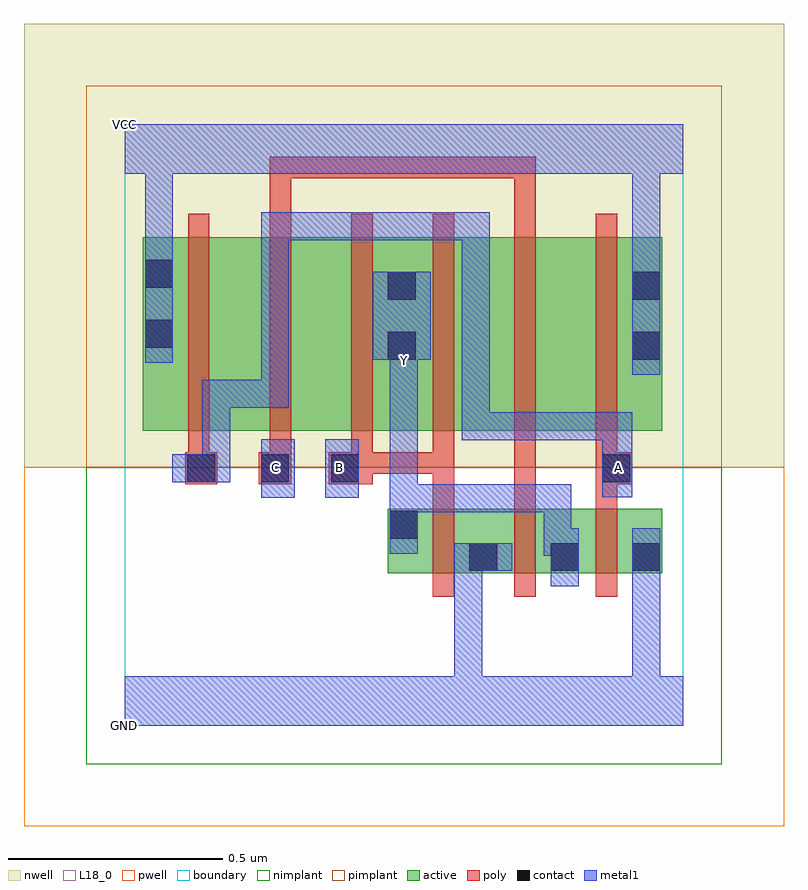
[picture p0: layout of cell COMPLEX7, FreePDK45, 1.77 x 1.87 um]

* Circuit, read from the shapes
.subckt COMPLEX7 A B C GND VCC Y
M1 GND B Y VSUBS nfet w=0.15u l=0.05u
M2 Y C GND VSUBS nfet w=0.15u l=0.05u
M3 GND A Y VSUBS nfet w=0.15u l=0.05u
M4 n1 A VCC n2 pfet w=0.45u l=0.05u
M5 n3 C n1 n2 pfet w=0.45u l=0.05u
M6 Y B n3 n2 pfet w=0.45u l=0.05u
M7 n4 B Y n2 pfet w=0.45u l=0.05u
M8 n5 C n4 n2 pfet w=0.45u l=0.05u
M9 VCC A n5 n2 pfet w=0.45u l=0.05u
.ends

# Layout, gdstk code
import gdstk
lib = gdstk.Library(unit=1e-6, precision=1e-09)
def R(c, l, rs):  # rectangles x0, y0, x1, y1
    for r in rs: c.add(gdstk.rectangle(r[:2], r[2:], *l))
def A(c, l, x, y, w, h, nx, ny, dx, dy):  # array of equal rectangles
    R(c, l, [(x+i*dx, y+j*dy, x+i*dx+w, y+j*dy+h) for i in range(nx) for j in range(ny)])
active = (1, 0)
pwell = (2, 0)
nwell = (3, 0)
nimplant = (4, 0)
pimplant = (5, 0)
poly = (9, 0)
contact = (10, 0)
metal1 = (11, 0)
L18_0 = (18, 0)
boundary = (235, 0)

complex7 = lib.new_cell('COMPLEX7')
R(complex7, active, [(0.612,0.355,0.872,0.505), (0.797,0.355,1.062,0.505), (0.797,0.355,0.872,0.43), (0.987,0.355,1.062,0.505), (0.987,0.355,1.252,0.505), (1.177,0.355,1.252,0.505), (0.612,0.397,0.687,0.505), (0.042,0.687,0.117,1.137), (0.042,0.687,0.267,1.137), (0.267,0.687,0.457,1.137), (0.457,0.687,0.682,1.137), (0.607,0.687,0.837,1.137), (0.607,0.687,0.682,1.07), (0.837,0.687,1.027,1.137), (1.027,0.687,1.252,1.137), (1.177,0.687,1.252,1.137)])
R(complex7, pwell, [(-0.235,-0.235,1.535,0.602)])
R(complex7, nwell, [(-0.235,0.602,1.535,1.635)])
R(complex7, nimplant, [(-0.09,-0.09,1.39,0.602)])
R(complex7, pimplant, [(-0.09,0.602,1.39,1.49)])
A(complex7, poly, 0.717, 0.3, 0.05, 0.26, 3, 1, 0.19, 0)
A(complex7, poly, 0.147, 0.587, 0.05, 0.095, 4, 1, 0.19, 0)
A(complex7, poly, 0.147, 0.632, 0.05, 0.56, 6, 1, 0.19, 0)
R(complex7, poly, [(0.717,0.51,0.767,0.637), (0.907,0.51,0.957,0.605), (1.097,0.51,1.147,0.612), (0.907,0.555,0.957,0.605), (0.907,0.555,0.957,0.682), (0.14,0.562,0.215,0.637), (0.312,0.562,0.387,0.637), (0.475,0.562,0.577,0.637), (1.097,0.562,1.182,0.637), (0.527,0.587,0.767,0.637), (0.717,0.587,0.767,0.637), (0.717,0.587,0.767,0.637), (0.717,0.587,0.767,0.637), (1.097,0.587,1.147,0.682), (0.337,1.142,0.387,1.325), (0.907,1.142,0.957,1.325), (0.337,1.275,0.387,1.325), (0.337,1.275,0.387,1.325), (0.337,1.275,0.387,1.325), (0.337,1.275,0.52,1.325), (0.47,1.275,0.52,1.325), (0.47,1.275,0.825,1.325), (0.775,1.275,0.825,1.325), (0.775,1.275,0.825,1.325), (0.775,1.275,0.825,1.325), (0.775,1.275,0.957,1.325), (0.907,1.275,0.957,1.325), (0.907,1.275,0.957,1.325), (0.907,1.275,0.957,1.325)])
A(complex7, contact, 0.802, 0.36, 0.065, 0.065, 3, 1, 0.19, 0)
R(complex7, contact, [(0.617,0.435,0.682,0.5), (0.145,0.567,0.21,0.632), (0.317,0.567,0.382,0.632), (0.48,0.567,0.545,0.632), (1.112,0.567,1.177,0.632), (0.612,0.852,0.677,0.917), (1.182,0.852,1.247,0.917), (0.047,0.88,0.112,0.945), (0.612,0.992,0.677,1.057), (1.182,0.992,1.247,1.057), (0.047,1.02,0.112,1.085)])
R(complex7, metal1, [(0,0,1.3,0.115), (0.767,0.05,0.832,0.115), (0.767,0.05,0.832,0.115), (0.767,0.05,0.832,0.425), (1.182,0.05,1.247,0.39), (0.992,0.325,1.057,0.46), (1.182,0.325,1.247,0.39), (1.182,0.325,1.247,0.39), (1.182,0.325,1.247,0.39), (1.182,0.325,1.247,0.39), (1.182,0.325,1.247,0.46), (0.767,0.36,0.832,0.425), (0.767,0.36,0.832,0.425), (0.767,0.36,0.902,0.425), (0.975,0.395,1.057,0.46), (0.975,0.395,1.04,0.562), (0.617,0.4,0.682,0.535), (0.617,0.47,0.682,0.535), (0.617,0.47,0.682,0.562), (0.617,0.47,0.682,0.847), (0.617,0.497,0.85,0.562), (0.785,0.497,0.85,0.562), (0.785,0.497,1.04,0.562), (0.317,0.53,0.395,0.667), (0.467,0.53,0.545,0.667), (1.112,0.532,1.182,0.73), (0.11,0.567,0.245,0.632), (0.18,0.567,0.245,0.632), (0.18,0.567,0.245,0.632), (0.18,0.567,0.245,0.805), (0.785,0.665,0.85,0.73), (0.785,0.665,0.85,0.73), (0.785,0.665,0.85,0.73), (0.785,0.665,1.11,0.73), (0.785,0.665,0.85,1.195), (1.045,0.665,1.11,0.73), (1.045,0.665,1.177,0.73), (0.18,0.74,0.245,0.805), (0.18,0.74,0.382,0.805), (0.317,0.74,0.382,0.805), (0.317,0.74,0.382,0.805), (0.317,0.74,0.382,0.805), (0.317,0.74,0.382,1.195), (0.617,0.782,0.682,0.917), (1.182,0.817,1.247,1.092), (0.047,0.845,0.112,1.12), (0.577,0.852,0.712,1.057), (0.617,0.852,0.682,0.917), (1.182,1.027,1.247,1.092), (1.182,1.027,1.247,1.092), (1.182,1.027,1.247,1.35), (0.047,1.055,0.112,1.12), (0.047,1.055,0.112,1.12), (0.047,1.055,0.112,1.35), (0.317,1.13,0.382,1.195), (0.317,1.13,0.52,1.195), (0.455,1.13,0.52,1.195), (0.455,1.13,0.695,1.195), (0.63,1.13,0.695,1.195), (0.63,1.13,0.695,1.195), (0.63,1.13,0.695,1.195), (0.63,1.13,0.85,1.195), (0.785,1.13,0.85,1.195), (0.785,1.13,0.85,1.195), (0.785,1.13,0.85,1.195), (0,1.285,1.3,1.4)])
R(complex7, L18_0, [(0,0,1.3,0.115), (0.767,0.05,0.832,0.115), (0.767,0.05,0.832,0.115), (0.767,0.05,0.832,0.425), (1.182,0.05,1.247,0.39), (0.992,0.325,1.057,0.46), (1.182,0.325,1.247,0.39), (1.182,0.325,1.247,0.39), (1.182,0.325,1.247,0.39), (1.182,0.325,1.247,0.39), (1.182,0.325,1.247,0.46), (0.767,0.36,0.832,0.425), (0.767,0.36,0.832,0.425), (0.767,0.36,0.902,0.425), (0.975,0.395,1.04,0.562), (0.975,0.395,1.057,0.46), (0.617,0.4,0.682,0.535), (0.617,0.47,0.682,0.535), (0.617,0.47,0.682,0.847), (0.617,0.47,0.682,0.562), (0.617,0.497,0.85,0.562), (0.785,0.497,0.85,0.562), (0.785,0.497,1.04,0.562), (0.317,0.53,0.395,0.667), (0.467,0.53,0.545,0.667), (1.112,0.532,1.182,0.73), (0.11,0.567,0.245,0.632), (0.18,0.567,0.245,0.632), (0.18,0.567,0.245,0.632), (0.18,0.567,0.245,0.805), (0.317,0.567,0.382,0.632), (0.467,0.567,0.532,0.632), (1.117,0.567,1.182,0.632), (0.785,0.665,0.85,0.73), (0.785,0.665,0.85,0.73), (0.785,0.665,0.85,0.73), (0.785,0.665,0.85,1.195), (0.785,0.665,1.11,0.73), (1.045,0.665,1.11,0.73), (1.045,0.665,1.177,0.73), (0.18,0.74,0.245,0.805), (0.18,0.74,0.382,0.805), (0.317,0.74,0.382,0.805), (0.317,0.74,0.382,0.805), (0.317,0.74,0.382,0.805), (0.317,0.74,0.382,1.195), (0.617,0.782,0.682,0.917), (0.617,0.817,0.682,0.882), (1.182,0.817,1.247,1.092), (0.047,0.845,0.112,1.12), (0.577,0.852,0.712,1.057), (0.617,0.852,0.682,0.917), (1.182,1.027,1.247,1.092), (1.182,1.027,1.247,1.092), (1.182,1.027,1.247,1.35), (0.047,1.055,0.112,1.12), (0.047,1.055,0.112,1.12), (0.047,1.055,0.112,1.35), (0.317,1.13,0.382,1.195), (0.317,1.13,0.52,1.195), (0.455,1.13,0.52,1.195), (0.455,1.13,0.695,1.195), (0.63,1.13,0.695,1.195), (0.63,1.13,0.695,1.195), (0.63,1.13,0.695,1.195), (0.63,1.13,0.85,1.195), (0.785,1.13,0.85,1.195), (0.785,1.13,0.85,1.195), (0.785,1.13,0.85,1.195), (0,1.285,1.3,1.4)])
R(complex7, boundary, [(0,0,1.3,1.4)])
complex7.add(gdstk.Label('A', (1.15,0.6), layer=11, texttype=0))
complex7.add(gdstk.Label('B', (0.5,0.6), layer=11, texttype=0))
complex7.add(gdstk.Label('C', (0.35,0.6), layer=11, texttype=0))
complex7.add(gdstk.Label('Y', (0.65,0.85), layer=11, texttype=0))
complex7.add(gdstk.Label('VCC', (0,1.4), layer=11, texttype=0))
complex7.add(gdstk.Label('GND', (0,0), layer=11, texttype=0))

lib.write_gds('COMPLEX7.gds')
